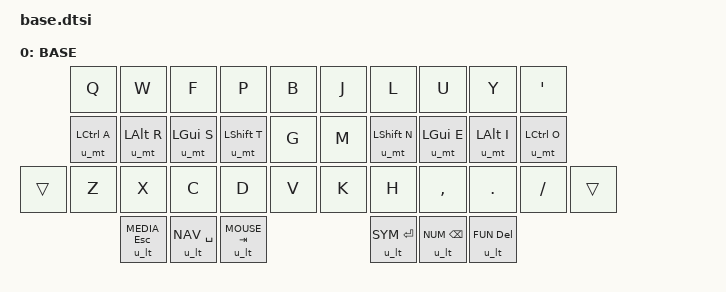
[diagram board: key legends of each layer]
/ {
    keymap {
        compatible = "zmk,keymap";

        base_layer {
            label = "BASE";
            bindings = <
                // Row 1 (top)
                                &kp Q           &kp W           &kp F           &kp P           &kp B           &kp J           &kp L           &kp U           &kp Y           &kp SQT

                // Row 2 (home, with LCTRL/LGUI swapped for CAGS)
                                &u_mt LCTRL A   &u_mt LALT R    &u_mt LGUI S    &u_mt LSHFT T   &kp G           &kp M           &u_mt LSHFT N   &u_mt LGUI E    &u_mt LALT I    &u_mt LCTRL O

                // Row 3 (bottom, with outer pinky keys represented by &trans)
                &trans          &kp Z           &kp X           &kp C           &kp D           &kp V           &kp K           &kp H           &kp COMMA       &kp DOT         &kp SLASH       &trans

                // Thumbs
                                         &u_lt MEDIA ESC       &u_lt NAV SPACE       &u_lt MOUSE TAB            &u_lt SYM RET       &u_lt NUM BSPC       &u_lt FUN DEL
            >;
        };
    };
};
